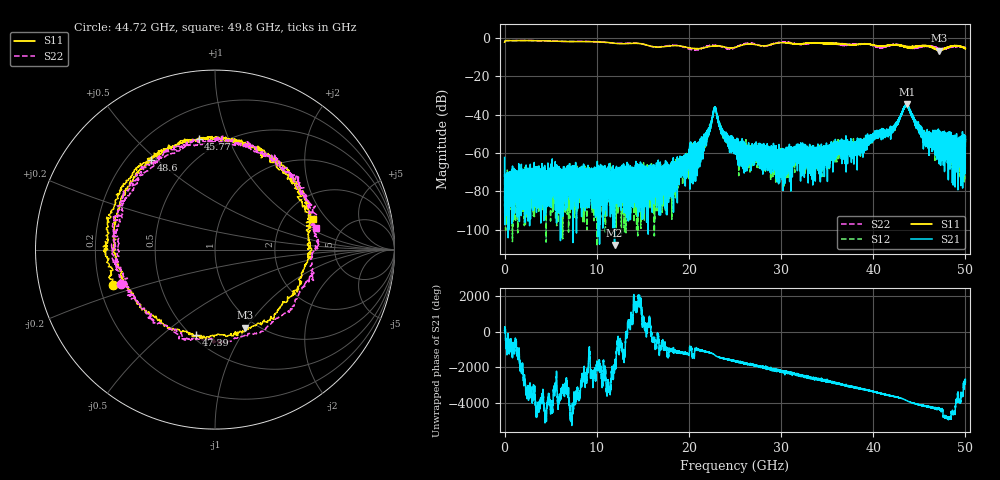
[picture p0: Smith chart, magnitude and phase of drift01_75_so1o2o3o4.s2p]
!Created with skrf (http://scikit-rf.org).
# Hz S RI R 50.0
!freq ReS11 ImS11 ReS21 ImS21 ReS12 ImS12 ReS22 ImS22
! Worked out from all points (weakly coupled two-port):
!   10001 points, 300 kHz to 50 GHz, reference 50 ohm
!   highest |S21| = -34.70 dB at 43.64 GHz (marker M1); lowest = -108.1 dB at 11.93 GHz (marker M2)
!   lowest |S11| = -6.6 dB at 47.15 GHz (marker M3), VSWR 2.75, Z = 44.5 - j49.5 ohm
!   |S11| at or under -10 dB: nowhere
!   |S22| runs from -6.4 to -1.4 dB; largest |S21 - S12| = 0.0036
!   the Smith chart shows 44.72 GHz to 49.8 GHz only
!   S11 on the Smith chart (normalised r, x): 44.72 GHz: 0.25, -0.16; 45.77 GHz: 0.39, +0.78; 47.39 GHz: 0.53, -0.66; 48.6 GHz: 0.30, +0.48; 49.8 GHz: 2.86, +1.45
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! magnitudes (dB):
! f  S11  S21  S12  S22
! 300 kHz  -2.2  -62.4  -72.5  -2.1
! 260.3 MHz  -1.4  -90.5  -75.4  -1.4
! 8.335 GHz  -1.9  -72.9  -73.6  -1.8
! 11.93 GHz  -2.8  -108.1  -72.9  -2.8
! 16.67 GHz  -4.8  -71.3  -66.9  -4.8
! 20.68 GHz  -5.6  -60.0  -59.2  -6.3
! 21.77 GHz  -5.0  -51.0  -53.3  -4.8
! 22.79 GHz  -4.3  -36.4  -36.0  -4.0
! 23.8 GHz  -4.7  -50.6  -50.0  -5.1
! 25 GHz  -5.0  -55.4  -57.9  -5.0
! 29.62 GHz  -2.7  -61.5  -66.2  -2.5
! 33.34 GHz  -2.6  -65.8  -62.9  -2.7
! 38.03 GHz  -3.5  -59.5  -57.7  -3.4
! 41.67 GHz  -3.9  -50.9  -48.6  -4.2
! 43.64 GHz  -4.9  -34.7  -35.1  -4.8
! 44.72 GHz  -4.4  -44.0  -45.6  -5.1
! 45.77 GHz  -4.1  -52.5  -51.5  -4.2
! 47.15 GHz  -6.6  -56.6  -52.1  -5.6
! 47.39 GHz  -6.2  -52.6  -64.1  -5.8
! 48.6 GHz  -4.2  -75.7  -55.3  -4.8
! 49.8 GHz  -4.9  -62.0  -65.8  -4.8
! 50 GHz  -5.5  -53.9  -54.6  -5.2
